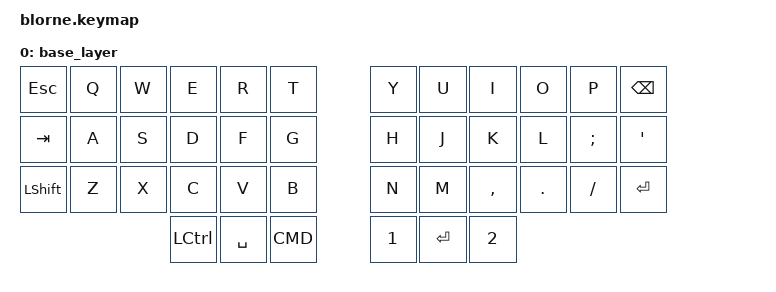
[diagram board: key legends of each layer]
#include <behaviors.dtsi>
#include <dt-bindings/zmk/keys.h>
#include <dt-bindings/zmk/bt.h>

#define _BASE    0
// #define _SYM     1
// #define _NAV     2

/ {
    keymap {
        compatible = "zmk,keymap";
            base_layer {
                bindings = <

    &kp ESC     &kp Q  &kp W  &kp E &kp R     &kp T                          &kp Y     &kp U     &kp I      &kp O    &kp P      &kp BACKSPACE
    &kp TAB     &kp A  &kp S  &kp D &kp F     &kp G                          &kp H     &kp J     &kp K      &kp L    &kp SEMI   &kp SQT
    &kp LSHIFT  &kp Z  &kp X  &kp C &kp V     &kp B                          &kp N     &kp M     &kp COMMA  &kp DOT  &kp SLASH  &kp ENTER
                                    &kp LCTRL &kp SPACE  &kp CMD       &kp N1 &kp ENTER &kp N2
                            >;
            };

    //         sym_layer {
    //             bindings = <

    // &bt BT_CLR   &kp N1  &kp N1  &kp N1  &kp N1  &kp N1                       &kp N1  &kp N1  &kp N1  &kp N1  &kp N1  &bt BT_CLR
    // &bootloader  &kp N1  &kp N1  &kp N1  &kp N1  &kp N1                       &kp N1  &kp N1  &kp N1  &kp N1  &kp N1  &bootloader
    // &kp N1       &kp N1  &kp N1  &kp N1  &kp N1  &kp N1                       &kp N1  &kp N1  &kp N1  &kp N1  &kp N1  &kp N1
    //                                 &kp N1  &kp N1  &kp N1          &none     &kp N1  &none

    //                         >;
    //         };

    //         nav_layer {
    //             bindings = <

    // &kp N2  &kp N2  &kp N2  &kp N2  &kp N2  &kp N2                         &kp N2  &kp N2  &kp N2  &kp N2  &kp N2  &kp N2
    // &kp N2  &kp N2  &kp N2  &kp N2  &kp N2  &kp N2                         &kp N2  &kp N2  &kp N2  &kp N2  &kp N2  &kp N2
    // &kp N2  &kp N2  &kp N2  &kp N2  &kp N2  &kp N2                         &kp N2  &kp N2  &kp N2  &kp N2  &kp N2  &kp N2
    //                                 &kp N2  &kp N2  &kp N2          &none  &kp N2  &none

    //                         >;
    //         };

    };

};
//forcebuild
